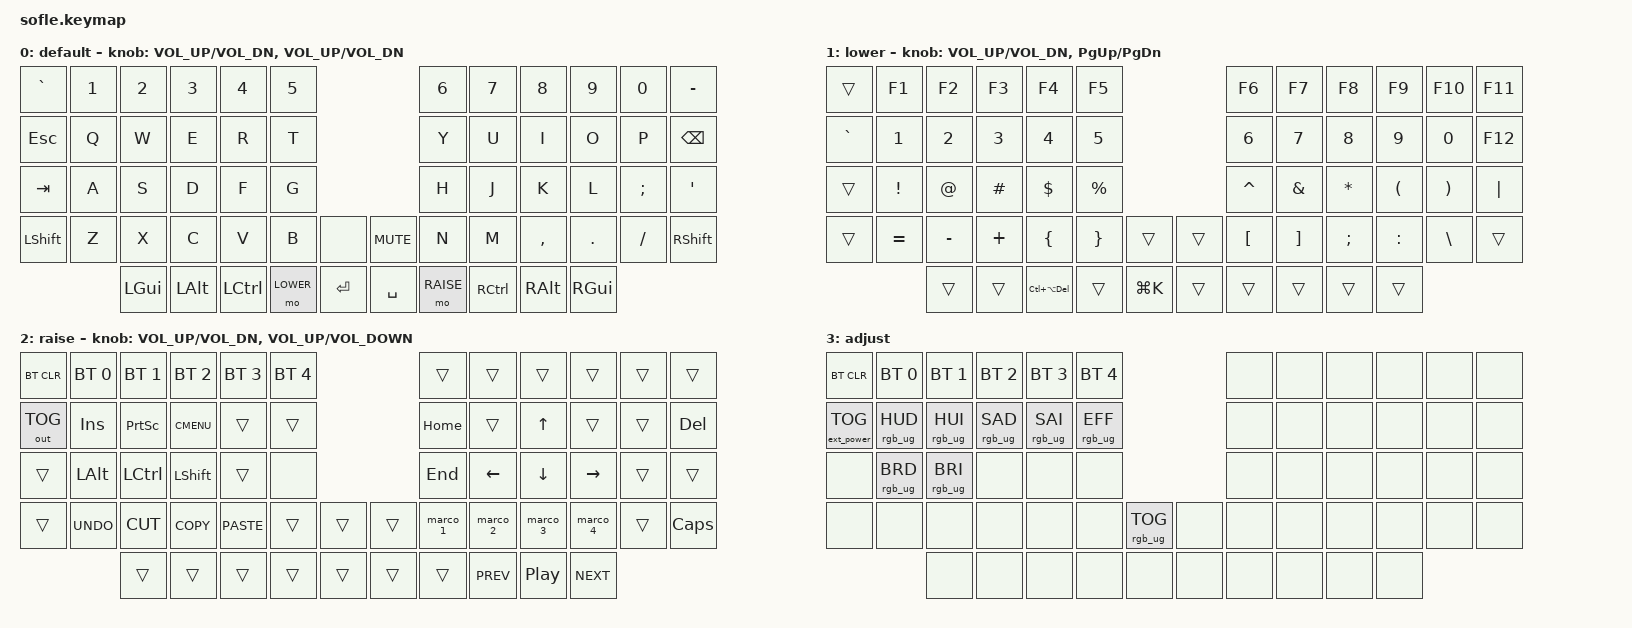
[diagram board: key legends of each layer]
/*
 * Copyright (c) 2020 The ZMK Contributors
 *
 * SPDX-License-Identifier: MIT
 */

#include <behaviors.dtsi>
#include <dt-bindings/zmk/bt.h>
#include <dt-bindings/zmk/ext_power.h>
#include <dt-bindings/zmk/keys.h>
#include <dt-bindings/zmk/outputs.h>
#include <dt-bindings/zmk/rgb.h>

#define BASE 0
#define LOWER 1
#define RAISE 2
#define ADJUST 3

/ {
    // Activate ADJUST layer by pressing raise and lower

    conditional_layers {
        compatible = "zmk,conditional-layers";

        adjust_layer {
            if-layers = <LOWER RAISE>;
            then-layer = <ADJUST>;
        };
    };

    macros {
        marco_1: marco_1 {
            compatible = "zmk,behavior-macro";
            #binding-cells = <0>;
            bindings = <&kp LS(H) &kp Y &kp LS(D) &kp R &kp O &kp LS(G) &kp E &kp N &kp N2 &kp N5 &kp N2 &kp N8>;
            label = "MARCO_1";
        };

        marco_2: marco_2 {
            compatible = "zmk,behavior-macro";
            #binding-cells = <0>;
            bindings = <&none &kp LS(U) &kp RPAR &kp CARET &kp R &kp M &kp P &kp N4 &kp D &kp N9 &kp N3>;
            label = "MARCO_2";
        };

        marco_3: marco_3 {
            compatible = "zmk,behavior-macro";
            #binding-cells = <0>;
            bindings = <&none &kp LS(U) &kp N0 &kp N6 &kp R &kp M &kp P &kp N4 &kp D &kp N9 &kp N3>;
            label = "MARCO_3";
        };

        marco_4: marco_4 {
            compatible = "zmk,behavior-macro";
            #binding-cells = <0>;
            bindings = <&none &kp U &kp N0 &kp N6 &kp R &kp M &kp P &kp N4 &kp D &kp N9 &kp N3>;
            label = "MARCO_4";
        };
    };

    keymap {
        compatible = "zmk,keymap";

        default_layer {
            display-name = "default";

            // ------------------------------------------------------------------------------------------------------------
            // |   `   |  1  |  2  |  3   |  4   |  5   |                   |  6   |  7    |  8    |  9   |   0   |      |
            // |  ESC  |  Q  |  W  |  E   |  R   |  T   |                   |  Y   |  U    |  I    |  O   |   P   | BKSPC |
            // |  TAB  |  A  |  S  |  D   |  F   |  G   |                   |  H   |  J    |  K    |  L   |   ;   |   '   |
            // | SHIFT |  Z  |  X  |  C   |  V   |  B   |  MUTE  |  |       |  N   |  M    |  ,    |  .   |   /   | SHIFT |
            //               | GUI | ALT  | CTRL | LOWER|  ENTER |  | SPACE | RAISE| CTRL  | ALT   | GUI  |

            bindings = <
&kp GRAVE  &kp N1  &kp N2    &kp N3    &kp N4     &kp N5                            &kp NUMBER_6  &kp N7     &kp N8     &kp N9    &kp N0    &kp MINUS
&kp ESC    &kp Q   &kp W     &kp E     &kp R      &kp T                             &kp Y         &kp U      &kp I      &kp O     &kp P     &kp BACKSPACE
&kp TAB    &kp A   &kp S     &kp D     &kp F      &kp G                             &kp H         &kp J      &kp K      &kp L     &kp SEMI  &kp SQT
&kp LSHFT  &kp Z   &kp X     &kp C     &kp V      &kp B      &none      &kp C_MUTE  &kp N         &kp M      &kp COMMA  &kp DOT   &kp FSLH  &kp RSHFT
                   &kp LGUI  &kp LALT  &kp LCTRL  &mo LOWER  &kp RET    &kp SPACE   &mo RAISE     &kp RCTRL  &kp RALT   &kp RGUI
            >;

            sensor-bindings =
                <&inc_dec_kp C_VOL_UP C_VOL_DN>,
                <&inc_dec_kp C_VOL_UP C_VOL_DN>;
        };

        lower_layer {
            display-name = "lower";

            // TODO: Some binds are waiting for shifted keycode support.
            // ------------------------------------------------------------------------------------------------------------
            // |       |  F1 |  F2 |  F3  |  F4  |  F5  |                   |  F6  |  F7   |  F8   |  F9  |  F10  |  F11  |
            // |   `   |  1  |  2  |  3   |  4   |  5   |                   |  6   |  7    |  8    |  9   |   0   |  F12  |
            // |       |  !  |  @  |  #   |  $   |  %   |                   |  ^   |  &    |  *    |  (   |   )   |   |   |
            // |       |  =  |  -  |  +   |  {   |  }   |        |  |       |  [   |  ]    |  ;    |  :   |   \   |       |
            //               |     |      |      |      |        |  |       |      |       |       |      |

            bindings = <
&trans     &kp F1     &kp F2     &kp F3    &kp F4              &kp F5                          &kp F6     &kp F7    &kp F8     &kp F9     &kp F10   &kp F11
&kp GRAVE  &kp N1     &kp N2     &kp N3    &kp N4              &kp N5                          &kp N6     &kp N7    &kp N8     &kp N9     &kp N0    &kp F12
&trans     &kp EXCL   &kp AT     &kp HASH  &kp DLLR            &kp PRCNT                       &kp CARET  &kp AMPS  &kp ASTRK  &kp LPAR   &kp RPAR  &kp PIPE
&trans     &kp EQUAL  &kp MINUS  &kp PLUS  &kp LBRC            &kp RBRC   &trans       &trans  &kp LBKT   &kp RBKT  &kp SEMI   &kp COLON  &kp BSLH  &trans
                      &trans     &trans    &kp LC(LA(DELETE))  &trans     &kp LG(K)    &trans  &trans     &trans    &trans     &trans
            >;

            sensor-bindings = <&inc_dec_kp C_VOL_UP C_VOL_DN &inc_dec_kp PG_UP PG_DN>;
        };

        raise_layer {
            display-name = "raise";

            // ------------------------------------------------------------------------------------------------------------
            // | BTCLR | BT1  | BT2  |  BT3  |  BT4  |  BT5 |                |      |      |       |      |       |       |
            // |       | INS  | PSCR | GUI   |       |      |                | PGUP |      |   ^   |      |       |       |
            // |       | ALT  | CTRL | SHIFT |       | CAPS |                | PGDN |   <- |   v   |  ->  |  DEL  | BKSPC |
            // |       | UNDO | CUT  | COPY  | PASTE |      |      |  |      |      |      |       |      |       |       |
            //                |      |       |       |      |      |  |      |      |      |       |      |

            bindings = <
&bt BT_CLR    &bt BT_SEL 0  &bt BT_SEL 1  &bt BT_SEL 2  &bt BT_SEL 3  &bt BT_SEL 4                    &trans    &trans      &trans            &trans      &trans  &trans
&out OUT_TOG  &kp INS       &kp PSCRN     &kp K_CMENU   &trans        &trans                          &kp HOME  &trans      &kp UP            &trans      &trans  &kp DEL
&trans        &kp LALT      &kp LCTRL     &kp LSHFT     &trans        &none                           &kp END   &kp LEFT    &kp DOWN          &kp RIGHT   &trans  &trans
&trans        &kp K_UNDO    &kp K_CUT     &kp K_COPY    &kp K_PASTE   &trans        &trans    &trans  &marco_1  &marco_2    &marco_3          &marco_4    &trans  &kp CAPSLOCK
                            &trans        &trans        &trans        &trans        &trans    &trans  &trans    &kp C_PREV  &kp C_PLAY_PAUSE  &kp C_NEXT
            >;

            sensor-bindings =
                <&inc_dec_kp C_VOL_UP C_VOL_DN>,
                <&inc_dec_kp C_VOLUME_UP C_VOLUME_DOWN>;
        };

        adjust_layer {
            // ----------------------------------------------------------------------------------------------------------------------------
            // | BTCLR  |  BT1    |  BT2    |   BT3   |   BT4   |   BT5   |                  |      |      |       |      |       |       |
            // | EXTPWR | RGB_HUD | RGB_HUI | RGB_SAD | RGB_SAI | RGB_EFF |                  |      |      |       |      |       |       |
            // |        | RGB_BRD | RGB_BRI |         |         |         |                  |      |      |       |      |       |       |
            // |        |         |         |         |         |         | RGB_TOG | |      |      |      |       |      |       |       |
            //                    |         |         |         |         |         | |      |      |      |       |      |

            display-name = "adjust";
            bindings = <
&bt BT_CLR         &bt BT_SEL 0     &bt BT_SEL 1     &bt BT_SEL 2     &bt BT_SEL 3     &bt BT_SEL 4                               &none  &none  &none  &none  &none  &none
&ext_power EP_TOG  &rgb_ug RGB_HUD  &rgb_ug RGB_HUI  &rgb_ug RGB_SAD  &rgb_ug RGB_SAI  &rgb_ug RGB_EFF                            &none  &none  &none  &none  &none  &none
&none              &rgb_ug RGB_BRD  &rgb_ug RGB_BRI  &none            &none            &none                                      &none  &none  &none  &none  &none  &none
&none              &none            &none            &none            &none            &none            &rgb_ug RGB_TOG    &none  &none  &none  &none  &none  &none  &none
                                    &none            &none            &none            &none            &none              &none  &none  &none  &none  &none
            >;
        };
    };
};
